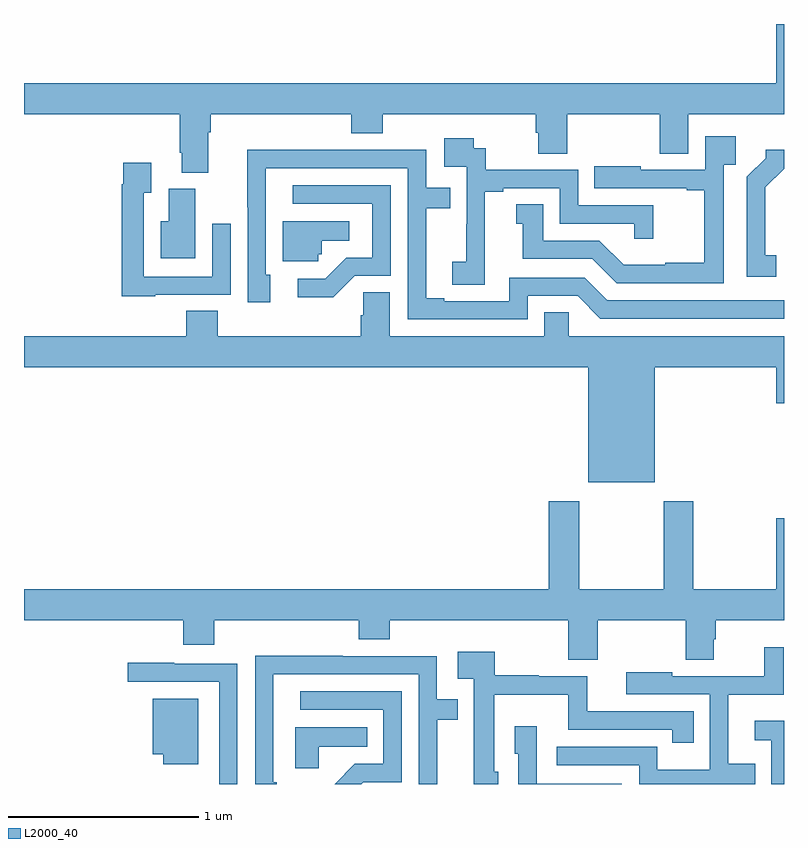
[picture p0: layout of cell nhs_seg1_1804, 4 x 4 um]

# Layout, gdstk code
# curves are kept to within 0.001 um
import gdstk
lib = gdstk.Library(unit=1e-6, precision=1e-09)
def P(c, l, *ps):  # polygons
    for p in ps: c.add(gdstk.Polygon(p, *l))
L2000_40 = (2000, 40)

nhs_seg1_1804 = lib.new_cell('nhs_seg1_1804')
P(nhs_seg1_1804, L2000_40, [(209.971,559.628),(209.984,559.628),(209.984,559.724),(210.722,559.724),(210.722,559.625),(210.887,559.625),(210.887,559.724),(211.694,559.724),(211.694,559.626),(211.706,559.626),(211.706,559.516),(211.859,559.516),(211.859,559.724),(212.345,559.724),(212.345,559.516),(212.497,559.516),(212.497,559.724),(213,559.724),(213,560.199),(212.96,560.199),(212.96,559.888),(209,559.888),(209,559.724),(209.819,559.724),(209.819,559.522),(209.831,559.522),(209.831,559.417),(209.971,559.417)],
  [(212.682,559.457),(212.747,559.457),(212.747,559.609),(212.586,559.609),(212.586,559.431),(212.245,559.431),(212.245,559.45),(212.002,559.45),(212.002,559.335),(212.489,559.335),(212.489,559.323),(212.581,559.323),(212.581,558.943),(212.375,558.943),(212.375,558.931),(212.156,558.931),(212.028,559.059),(211.732,559.059),(211.732,559.25),(211.592,559.25),(211.592,559.147),(211.625,559.147),(211.625,558.963),(211.992,558.963),(212.121,558.834),(212.682,558.834)],
  [(211.424,558.937),(211.426,558.937),(211.426,559.315),(211.522,559.315),(211.522,559.335),(211.821,559.335),(211.821,559.149),(212.211,559.149),(212.211,559.068),(212.312,559.068),(212.312,559.245),(211.917,559.245),(211.917,559.431),(211.43,559.431),(211.43,559.545),(211.368,559.545),(211.368,559.597),(211.212,559.597),(211.212,559.449),(211.329,559.449),(211.329,559.145),(211.328,559.145),(211.328,558.948),(211.254,558.948),(211.254,558.826),(211.424,558.826)],
  [(211.65,558.768),(211.914,558.768),(212.034,558.648),(213,558.648),(213,558.744),(212.07,558.744),(211.95,558.864),(211.554,558.864),(211.554,558.741),(211.213,558.741),(211.213,558.756),(211.117,558.756),(211.117,559.23),(211.244,559.23),(211.244,559.338),(211.116,559.338),(211.116,559.536),(210.638,559.536),(210.638,559.538),(210.176,559.538),(210.177,558.735),(210.295,558.735),(210.295,558.879),(210.273,558.879),(210.273,559.44),(211.02,559.44),(211.02,558.645),(211.65,558.645)],
  [(212.96,558.983),(212.902,558.983),(212.902,559.339),(213,559.437),(213,559.538),(212.904,559.538),(212.904,559.493),(212.805,559.394),(212.805,558.87),(212.96,558.87)],
  [(209.691,558.774),(210.087,558.774),(210.087,559.147),(209.991,559.147),(209.991,558.87),(209.631,558.87),(209.631,559.312),(209.671,559.312),(209.671,559.468),(209.523,559.468),(209.523,559.355),(209.515,559.355),(209.515,558.767),(209.691,558.767)],
  [(210.741,558.873),(210.93,558.873),(210.93,559.35),(210.414,559.35),(210.414,559.254),(210.834,559.254),(210.834,558.969),(210.696,558.969),(210.585,558.858),(210.441,558.858),(210.441,558.761),(210.628,558.761)],
  [(209.902,559.332),(209.762,559.332),(209.762,559.162),(209.72,559.162),(209.72,558.965),(209.902,558.965)],
  [(210.549,558.987),(210.567,558.987),(210.567,559.058),(210.712,559.058),(210.712,559.162),(210.362,559.162),(210.362,558.951),(210.549,558.951)],
  [(212.32,558.392),(212.96,558.392),(212.96,558.204),(213,558.204),(213,558.556),(211.866,558.556),(211.866,558.683),(211.739,558.683),(211.739,558.556),(210.925,558.556),(210.925,558.788),(210.786,558.788),(210.786,558.665),(210.773,558.665),(210.773,558.556),(210.02,558.556),(210.02,558.689),(209.855,558.689),(209.855,558.556),(209,558.556),(209,558.392),(211.97,558.392),(211.97,557.786),(212.32,557.786)],
  [(212.019,557.06),(212.482,557.06),(212.482,556.852),(212.629,556.852),(212.629,556.962),(212.642,556.962),(212.642,557.06),(213,557.06),(213,557.599),(212.96,557.599),(212.96,557.224),(212.523,557.224),(212.523,557.686),(212.368,557.686),(212.368,557.224),(211.923,557.224),(211.923,557.686),(211.763,557.686),(211.763,557.224),(209,557.224),(209,557.06),(209.837,557.06),(209.837,556.932),(210.002,556.932),(210.002,557.06),(210.761,557.06),(210.761,556.961),(210.926,556.961),(210.926,557.06),(211.864,557.06),(211.864,556.852),(212.019,556.852)],
  [(212.849,556.306),(212.707,556.306),(212.707,556.67),(212.998,556.67),(212.998,556.918),(212.896,556.918),(212.896,556.767),(212.413,556.767),(212.413,556.786),(212.169,556.786),(212.169,556.671),(212.61,556.671),(212.61,556.273),(212.334,556.273),(212.334,556.394),(212.231,556.394),(212.231,556.395),(211.803,556.395),(211.803,556.299),(212.238,556.299),(212.238,556.199),(212.849,556.199)],
  [(211.495,556.263),(211.474,556.263),(211.474,556.67),(211.865,556.67),(211.865,556.485),(212.412,556.485),(212.412,556.416),(212.525,556.416),(212.525,556.581),(211.964,556.581),(211.964,556.767),(211.71,556.767),(211.71,556.772),(211.477,556.772),(211.477,556.894),(211.284,556.894),(211.284,556.754),(211.368,556.754),(211.368,556.658),(211.367,556.658),(211.367,556.199),(211.495,556.199)],
  [(210.331,556.209),(210.312,556.209),(210.312,556.776),(211.077,556.776),(211.077,556.199),(211.175,556.199),(211.175,556.536),(211.282,556.536),(211.282,556.644),(211.173,556.644),(211.173,556.872),(210.677,556.872),(210.677,556.874),(210.216,556.874),(210.216,556.199),(210.331,556.199)],
  [(210.123,556.833),(209.791,556.833),(209.791,556.837),(209.547,556.837),(209.547,556.737),(210.027,556.737),(210.027,556.199),(210.123,556.199)],
  [(210.786,556.209),(210.987,556.209),(210.987,556.686),(210.453,556.686),(210.453,556.59),(210.891,556.59),(210.891,556.305),(210.741,556.305),(210.635,556.199),(210.776,556.199)],
  [(209.917,556.648),(209.678,556.648),(209.678,556.355),(209.732,556.355),(209.732,556.304),(209.917,556.304)],
  [(213,556.531),(212.847,556.531),(212.847,556.43),(212.934,556.43),(212.934,556.199),(213,556.199)],
  [(212.145,556.2),(211.698,556.2),(211.698,556.504),(211.583,556.504),(211.583,556.359),(211.602,556.359),(211.602,556.199),(212.145,556.199)],
  [(210.55,556.394),(210.806,556.394),(210.806,556.498),(210.428,556.498),(210.428,556.282),(210.55,556.282)])

lib.write_gds('nhs_seg1_1804.gds')
